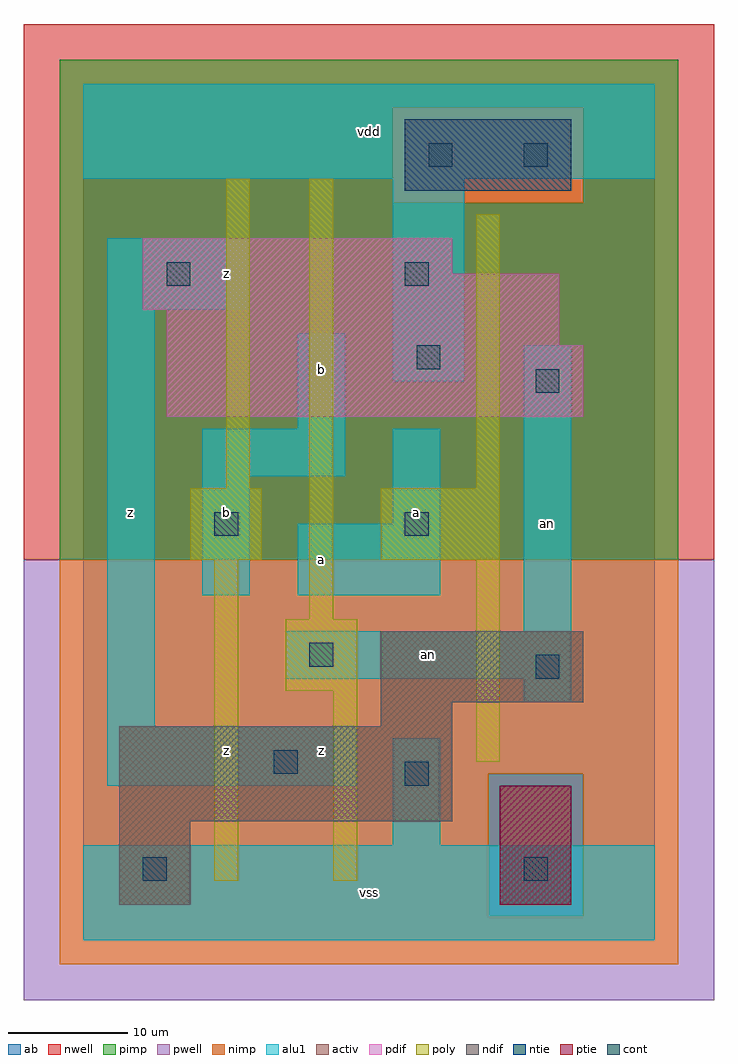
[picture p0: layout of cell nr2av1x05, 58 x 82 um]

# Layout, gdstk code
import gdstk
lib = gdstk.Library(unit=1e-6, precision=1e-09)
def R(c, l, rs):  # rectangles x0, y0, x1, y1
    for r in rs: c.add(gdstk.rectangle(r[:2], r[2:], *l))
def A(c, l, x, y, w, h, nx, ny, dx, dy):  # array of equal rectangles
    R(c, l, [(x+i*dx, y+j*dy, x+i*dx+w, y+j*dy+h) for i in range(nx) for j in range(ny)])
ndif = (3, 0)
pdif = (4, 0)
ntie = (5, 0)
ptie = (6, 0)
cont = (25, 0)
pwell = (41, 0)
nwell = (42, 0)
activ = (43, 0)
pimp = (44, 0)
nimp = (45, 0)
poly = (46, 0)
alu1 = (49, 0)
ab = (63, 0)

nr2av1x05 = lib.new_cell('nr2av1x05')
R(nr2av1x05, ndif, [(3,3,9,10), (3,10,31,18), (25,18,31,20), (25,20,42,26)])
R(nr2av1x05, pdif, [(7,44,42,50), (7,50,40,53), (5,53,40,56), (5,56,31,59)])
R(nr2av1x05, ntie, [(27,63,41,69)])
R(nr2av1x05, ptie, [(35,3,41,13)])
A(nr2av1x05, cont, 27, 13, 2, 2, 1, 3, 0, 21)
R(nr2av1x05, cont, [(5,5,7,7), (37,5,39,7), (16,14,18,16), (38,22,40,24), (19,23,21,25), (11,34,13,36), (38,46,40,48), (28,48,30,50), (7,55,9,57), (29,65,31,67), (37,65,39,67)])
R(nr2av1x05, pwell, [(-5,-5,53,32)])
R(nr2av1x05, nwell, [(-5,32,53,77)])
R(nr2av1x05, activ, [(3,3,9,10), (35,3,41,13), (3,10,31,18), (25,18,31,20), (25,20,42,26), (7,44,42,50), (7,50,40,53), (5,53,40,56), (5,56,31,59), (27,63,41,69)])
R(nr2av1x05, pimp, [(34,2,42,14), (-2,32,50,62), (-2,62,26,70), (42,62,50,70), (-2,70,50,74)])
R(nr2av1x05, nimp, [(-2,-2,50,2), (-2,2,34,14), (42,2,50,14), (-2,14,50,32), (26,62,42,70)])
R(nr2av1x05, poly, [(11,5,13,32), (21,5,23,21), (33,15,35,32), (17,21,23,27), (19,27,21,64), (9,32,15,38), (25,32,35,38), (12,38,14,64), (33,38,35,61)])
R(nr2av1x05, alu1, [(0,0,48,8), (26,8,30,17), (2,13,23,18), (2,18,6,53), (37,20,41,22), (17,22,41,26), (37,26,41,50), (10,29,14,39), (18,29,30,35), (26,35,30,43), (10,39,22,43), (18,43,22,51), (26,47,32,64), (2,53,14,59), (0,64,48,72)])
R(nr2av1x05, ab, [(0,0,48,72)])
nr2av1x05.add(gdstk.Label('an', (29,24), layer=49, texttype=0))
nr2av1x05.add(gdstk.Label('an', (39,35), layer=49, texttype=0))
nr2av1x05.add(gdstk.Label('z', (4,36), layer=49, texttype=0))
nr2av1x05.add(gdstk.Label('z', (20,16), layer=49, texttype=0))
nr2av1x05.add(gdstk.Label('z', (12,16), layer=49, texttype=0))
nr2av1x05.add(gdstk.Label('a', (20,32), layer=49, texttype=0))
nr2av1x05.add(gdstk.Label('b', (12,36), layer=49, texttype=0))
nr2av1x05.add(gdstk.Label('b', (20,48), layer=49, texttype=0))
nr2av1x05.add(gdstk.Label('z', (12,56), layer=49, texttype=0))
nr2av1x05.add(gdstk.Label('vss', (24,4), layer=49, texttype=0))
nr2av1x05.add(gdstk.Label('a', (28,36), layer=49, texttype=0))
nr2av1x05.add(gdstk.Label('vdd', (24,68), layer=49, texttype=0))

lib.write_gds('nr2av1x05.gds')
